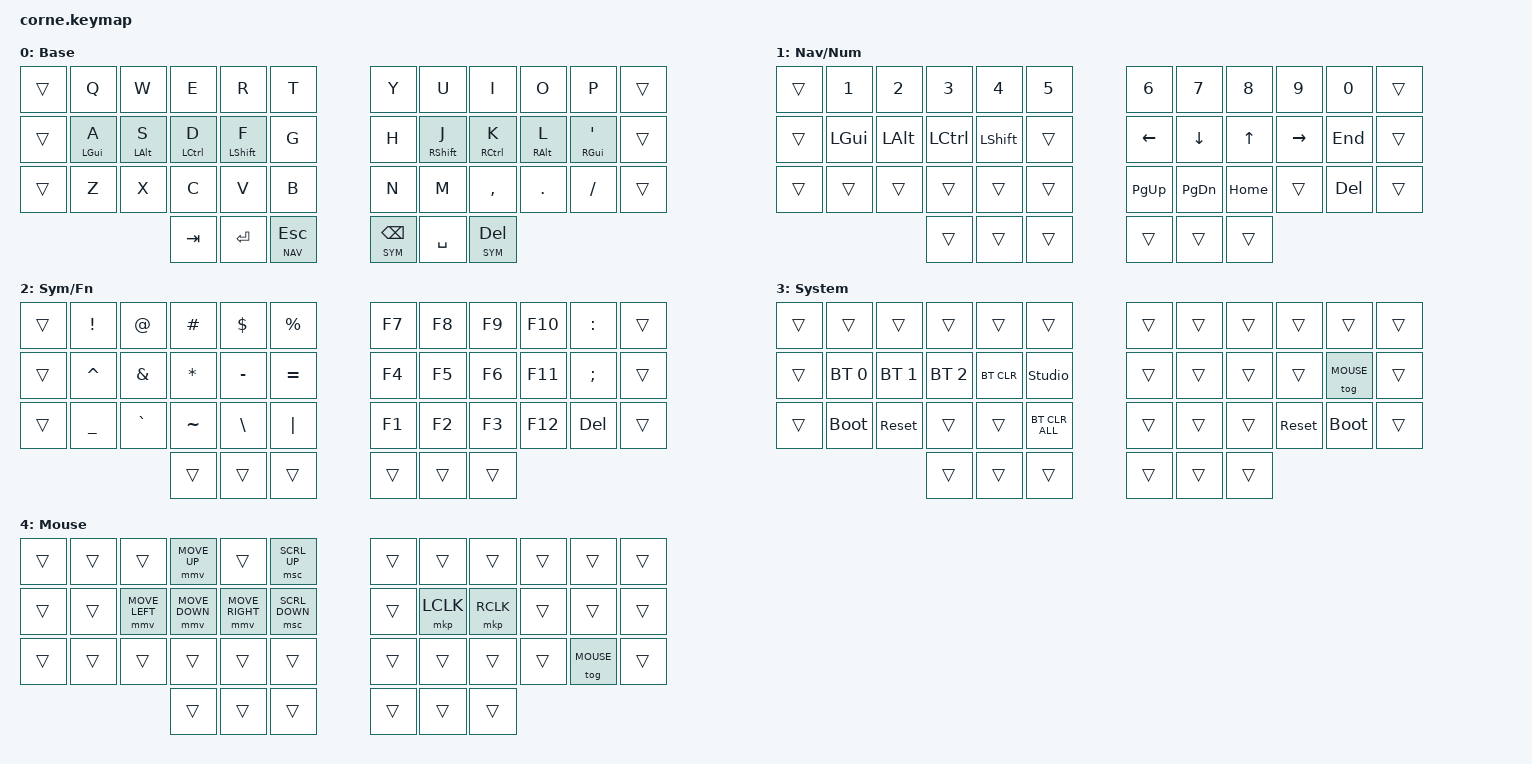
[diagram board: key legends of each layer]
/*
 * Corne Mini (3x5+3, ZMK) — transition map ported from the 6-column Vial Corne.
 * Target: mbastar/zmk-config-cornemini2 → config/corne.keymap
 *
 * Ported as-is from the Vial board: number/nav layer on the left thumb, symbol/F-key
 * layer on the right thumb, all six bracket + utility combos, mod order GUI/ALT/CTRL/SHFT.
 * New: home-row mods (the old thumb-row CTL/GUI/SHFT keys do not exist here).
 */

#include <behaviors.dtsi>
#include <dt-bindings/zmk/bt.h>
#include <dt-bindings/zmk/keys.h>
#include <dt-bindings/zmk/pointing.h>

#define DEF   0
#define NAV   1
#define SYM   2
#define ADJ   3
#define MOUSE 4

/* Layer-taps now sit on BSPC and DEL, which you sometimes want to hold down to
   repeat. quick-tap-ms restores that: tap the key, then press-and-hold again
   within 200 ms and it repeats the tap instead of entering the layer. */
&lt { quick-tap-ms = <200>; };

/* 42-key matrix; outer columns (0, 11, 12, 23, 24, 35) are unpopulated on the Mini.
   Left:  0-5   12-17  24-29  thumbs 36 37 38
   Right: 6-11  18-23  30-35  thumbs 39 40 41 */

#define LEFT_KEYS   0 1 2 3 4 5 12 13 14 15 16 17 24 25 26 27 28 29
#define RIGHT_KEYS  6 7 8 9 10 11 18 19 20 21 22 23 30 31 32 33 34 35
#define LEFT_THUMB  36 37 38
#define RIGHT_THUMB 39 40 41

/ {
    behaviors {
        /* Home-row mods. Cross-hand only: a left-hand mod fires only if a RIGHT-hand
           key follows, which is what stops "df" turning into ctrl+d. */

        /* Three tiers, tuned by how often the TAP character is typed --
           not by which finger it is. Misfire risk scales with tap frequency;
           the cost of a hard hold scales with how often you need the mod. */

        /* Index + middle (D F J K -> CTRL, SHIFT). Pressed mid-roll, so the
           hold has to be easy to get: shorter term, and prior-idle dropped
           from 150 to 80 because that guard was eating Shift when it followed
           a letter fast -- the "f/ instead of ?" failure. */
        hmli: home_row_mod_left_index {
            compatible = "zmk,behavior-hold-tap";
            #binding-cells = <2>;
            flavor = "balanced";
            tapping-term-ms = <200>;
            quick-tap-ms = <175>;
            require-prior-idle-ms = <80>;
            bindings = <&kp>, <&kp>;

            hold-trigger-key-positions = <RIGHT_KEYS RIGHT_THUMB>;
            hold-trigger-on-release;
        };

        hmri: home_row_mod_right_index {
            compatible = "zmk,behavior-hold-tap";
            #binding-cells = <2>;
            flavor = "balanced";
            tapping-term-ms = <200>;
            quick-tap-ms = <175>;
            require-prior-idle-ms = <80>;
            bindings = <&kp>, <&kp>;

            hold-trigger-key-positions = <LEFT_KEYS LEFT_THUMB>;
            hold-trigger-on-release;
        };

        /* Ring + pinky (S L ' -> ALT, ALT, GUI). Unchanged from the tuning that
           has been running two weeks. ALT stays fast because option-arrow and
           option-backspace are mid-flow editing gestures; ' stays fast because
           it is the only source of Cmd for every left-hand letter. */
        hml: home_row_mod_left {
            compatible = "zmk,behavior-hold-tap";
            #binding-cells = <2>;
            flavor = "balanced";
            tapping-term-ms = <280>;
            quick-tap-ms = <175>;
            require-prior-idle-ms = <150>;
            bindings = <&kp>, <&kp>;

            hold-trigger-key-positions = <RIGHT_KEYS RIGHT_THUMB>;
            hold-trigger-on-release;
        };

        hmr: home_row_mod_right {
            compatible = "zmk,behavior-hold-tap";
            #binding-cells = <2>;
            flavor = "balanced";
            tapping-term-ms = <280>;
            quick-tap-ms = <175>;
            require-prior-idle-ms = <150>;
            bindings = <&kp>, <&kp>;

            hold-trigger-key-positions = <LEFT_KEYS LEFT_THUMB>;
            hold-trigger-on-release;
        };

        /* Left pinky only (A -> GUI). tap-preferred resolves as HOLD only when
           the 280 ms term actually expires, no matter what else is pressed --
           so "an", "and", "man", "a " can no longer become Cmd-N or Cmd-Space.
           'a' is ~8% of English letters, which is why this one key needs the
           guard; ' is under 0.3%, which is why the right pinky does not.
           Cost: Cmd-N/K/P now need a deliberate 280 ms hold on A first. */
        hmlp: home_row_mod_left_pinky {
            compatible = "zmk,behavior-hold-tap";
            #binding-cells = <2>;
            flavor = "tap-preferred";
            tapping-term-ms = <280>;
            quick-tap-ms = <175>;
            require-prior-idle-ms = <150>;
            bindings = <&kp>, <&kp>;

            hold-trigger-key-positions = <RIGHT_KEYS RIGHT_THUMB>;
            hold-trigger-on-release;
        };

        caps: caps {
            compatible = "zmk,behavior-caps-word";
            #binding-cells = <0>;
            continue-list = <MINUS UNDERSCORE BACKSPACE>;
        };
    };

    conditional_layers {
        compatible = "zmk,conditional-layers";

        tri_layer {
            if-layers = <NAV SYM>;
            then-layer = <ADJ>;
        };
    };

    combos {
        compatible = "zmk,combos";

        /* --- ported 1:1 from the Vial Corne (all positions survive the lost column) --- */

        screenshot {
            bindings = <&kp LG(LS(N4))>;
            key-positions = <1 25>;
            layers = <DEF>;
        }; /* Q + Z */
        dictation {
            bindings = <&kp F13>;
            key-positions = <32 33>;
            layers = <DEF>;
        }; /* , + . -> F13 (Raycast dictation). Was RGUI: VoiceInk listens to
              bare right-GUI, so every cross-hand Cmd from the `;` home-row mod
              flashed the dictation window. F13 exists on no layer and no board. */
        lpar {
            bindings = <&kp LPAR>;
            key-positions = <4 5>;
            layers = <DEF>;
        }; /* R + T */
        rpar {
            bindings = <&kp RPAR>;
            key-positions = <6 7>;
            layers = <DEF>;
        }; /* Y + U */
        lbkt {
            bindings = <&kp LBKT>;
            key-positions = <16 17>;
            layers = <DEF>;
        }; /* F + G */
        rbkt {
            bindings = <&kp RBKT>;
            key-positions = <18 19>;
            layers = <DEF>;
        }; /* H + J */
        lbrc {
            bindings = <&kp LBRC>;
            key-positions = <28 29>;
            layers = <DEF>;
        }; /* V + B */
        rbrc {
            bindings = <&kp RBRC>;
            key-positions = <30 31>;
            layers = <DEF>;
        }; /* N + M */
        /* --- new: replaces keys the Mini has no room for --- */

        capsword {
            bindings = <&caps>;
            key-positions = <16 19>;
        };  /* F + J  → caps word (was SHFT)   */
        plus {
            bindings = <&kp PLUS>;
            key-positions = <16 17>;
            layers = <SYM>;
        };  /* SYM: - and = pressed together -> +. `+` was unreachable by ANY
               gesture: `=` lives only on SYM, shift lives only on DEF's
               home-row mods and NAV, and holding SYM turns the F/shift key
               into `-`. Scoped to SYM, so F+G on the base layer is still `[`.
               &kp PLUS emits shift+equal itself, so no shift source needed.
               Timeout left at the 50 ms default to match the F+G `[` combo,
               which is the same physical gesture and already trained. The one
               false-fire risk is typing `-=` fast (a real operator): if that
               bites, add `timeout-ms = <30>;` here rather than
               require-prior-idle-ms, which would also suppress a deliberate
               `+` mid-expression -- the same trap that killed the `'` combo. */
        del {
            bindings = <&kp DEL>;
            key-positions = <27 28>;
        };  /* C + V  → DEL. Was S+X: same finger, two rows, ring splayed --
               confirmed uncomfortable in use. "cv" is in no English word, and the
               V overlap with V+B is resolved by which keys are actually down.
               DEL also stays on NAV and SYM at the right pinky bottom.  */
    };

    keymap {
        compatible = "zmk,keymap";

        DEF {
            display-name = "Base";

            // |  Q  |  W  |  E  |  R  |  T  |   |  Y  |  U  |  I  |  O  |  P  |
            // |  A  |  S  |  D  |  F  |  G  |   |  H  |  J  |  K  |  L  |  '  |   home-row mods
            //                                                              tap = ' (shift = "); hold = RGUI
            // |  Z  |  X  |  C  |  V  |  B  |   |  N  |  M  |  ,  |  .  |  /  |
            //         | TAB | ENT | ESC/NAV |   | BSPC/SYM | SPC | DEL/SYM |
            //   SYM moved from the outer right thumb to the inner one, mirroring NAV
            //   on the inner left. The outer key keeps a SYM hold as a fallback and
            //   picks up DEL on the tap.

            bindings = <
&trans  &kp Q         &kp W        &kp E          &kp R          &kp T          &kp Y     &kp U          &kp I          &kp O        &kp P           &trans
&trans  &hmlp LGUI A  &hml LALT S  &hmli LCTRL D  &hmli LSHFT F  &kp G          &kp H     &hmri RSHFT J  &hmri RCTRL K  &hmr RALT L  &hmr RGUI SQT   &trans
&trans  &kp Z         &kp X        &kp C          &kp V          &kp B          &kp N     &kp M          &kp COMMA      &kp DOT      &kp FSLH        &trans
                                   &kp TAB        &kp RET        &lt NAV ESC    &lt SYM BSPC  &kp SPACE      &lt SYM DEL
            >;

            /* FALLBACK ONLY -- if home-row mods genuinely fight you, swap this row in:
&trans  &kp A  &kp S  &kp D  &kp F  &kp G   &kp H  &kp J  &kp K  &kp L  &kp SQT   &trans
               ...but Shift then has nowhere to live (no pinky column, no thumb row on
               this board), so you must ALSO move Shift onto a thumb in the same edit:
                       &mt LSHFT TAB   &kp RET   &lt NAV ESC
               Capitals via a layer hold is not a workable typing experience. */
        };

        NAV {
            display-name = "Nav/Num";

            // |  1  |  2  |  3  |  4  |  5  |   |  6  |  7   |  8   |  9  |  0  |
            // | GUI | ALT | CTL | SFT |     |   |  <- |  v   |  ^   |  -> | END |
            // |     |     |     |     |     |   | PGUP| PGDN | HOME |     | DEL |

            bindings = <
&trans  &kp N1    &kp N2    &kp N3     &kp N4     &kp N5    &kp N6     &kp N7     &kp N8    &kp N9     &kp N0   &trans
&trans  &kp LGUI  &kp LALT  &kp LCTRL  &kp LSHFT  &trans    &kp LEFT   &kp DOWN   &kp UP    &kp RIGHT  &kp END  &trans
&trans  &trans    &trans    &trans     &trans     &trans    &kp PG_UP  &kp PG_DN  &kp HOME  &trans     &kp DEL  &trans
                            &trans     &trans     &trans    &trans     &trans     &trans
            >;
        };

        SYM {
            display-name = "Sym/Fn";

            // |  !  |  @  |  #  |  $  |  %  |   | F7 | F8 | F9 | F10 |  :  |
            // |  ^  |  &  |  *  |  -  |  =  |   | F4 | F5 | F6 | F11 |  ;  |
            // |  _  |  `  |  ~  |  \  | "|" |   | F1 | F2 | F3 | F12 | DEL |
            //   combo: - + =  ->  +

            bindings = <
&trans  &kp EXCL   &kp AT     &kp HASH   &kp DLLR   &kp PRCNT    &kp F7  &kp F8  &kp F9  &kp F10  &kp COLON  &trans
&trans  &kp CARET  &kp AMPS   &kp ASTRK  &kp MINUS  &kp EQUAL    &kp F4  &kp F5  &kp F6  &kp F11  &kp SEMI   &trans
&trans  &kp UNDER  &kp GRAVE  &kp TILDE  &kp BSLH   &kp PIPE     &kp F1  &kp F2  &kp F3  &kp F12  &kp DEL    &trans
                              &trans     &trans     &trans       &trans  &trans  &trans
            >;
        };

        ADJ {
            display-name = "System";

            // reached by holding NAV + SYM together (conditional layer)
            // |     |     |     |     |     |   |     |     |     |     |     |
            // | BT0 | BT1 | BT2 |BTCLR| STUDIO |  |     |     |     |     |MOUSE|
            // | BOOT|RESET|     |     |BTCLRA| |     |     |     |RESET| BOOT |
            //
            // &bootloader / &sys_reset are SOURCE-SPECIFIC on a split: each one only
            // affects the half it is physically pressed on. Both halves need their own.
            // (Combos are the exception -- a combo always fires on the central/left half.)

            bindings = <
&trans  &trans        &trans        &trans        &trans      &trans            &trans  &trans  &trans  &trans      &trans       &trans
&trans  &bt BT_SEL 0  &bt BT_SEL 1  &bt BT_SEL 2  &bt BT_CLR  &studio_unlock    &trans  &trans  &trans  &trans      &tog MOUSE   &trans
&trans  &bootloader   &sys_reset    &trans        &trans      &bt BT_CLR_ALL    &trans  &trans  &trans  &sys_reset  &bootloader  &trans
                                    &trans        &trans      &trans            &trans  &trans  &trans
            >;
        };

        MOUSE {
            display-name = "Mouse";
            bindings = <
&trans  &trans  &trans          &mmv MOVE_UP    &trans           &msc SCRL_UP      &trans  &trans     &trans     &trans  &trans      &trans
&trans  &trans  &mmv MOVE_LEFT  &mmv MOVE_DOWN  &mmv MOVE_RIGHT  &msc SCRL_DOWN    &trans  &mkp LCLK  &mkp RCLK  &trans  &trans      &trans
&trans  &trans  &trans          &trans          &trans           &trans            &trans  &trans     &trans     &trans  &tog MOUSE  &trans
                                &trans          &trans           &trans            &trans  &trans     &trans
            >;
        };

        /* Empty slots so ZMK Studio can hand out extra layers with no rebuild.
           Delete these two lines if the v0.3 build rejects them. */

        extra1 { status = "reserved"; };

        extra2 { status = "reserved"; };
    };
};
